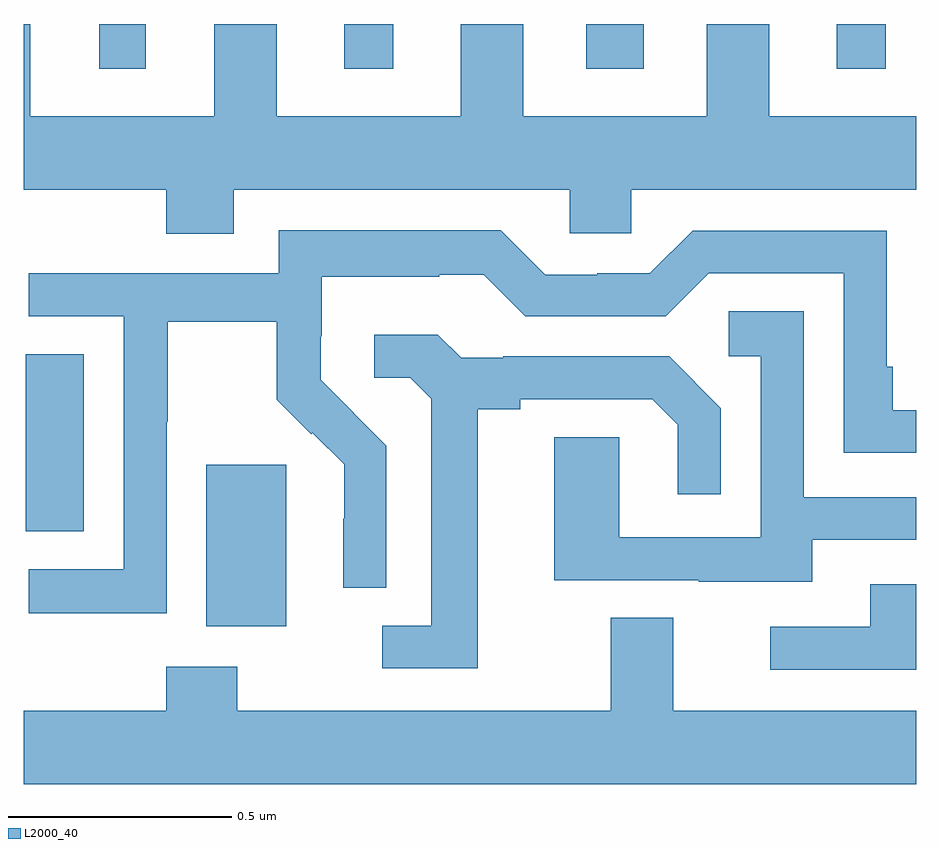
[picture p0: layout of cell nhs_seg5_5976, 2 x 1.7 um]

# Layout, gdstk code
import gdstk
lib = gdstk.Library(unit=1e-6, precision=1e-09)
def R(c, l, rs):  # rectangles x0, y0, x1, y1
    for r in rs: c.add(gdstk.rectangle(r[:2], r[2:], *l))
def P(c, l, *ps):  # polygons
    for p in ps: c.add(gdstk.Polygon(p, *l))
L2000_40 = (2000, 40)

nhs_seg5_5976 = lib.new_cell('nhs_seg5_5976')
R(nhs_seg5_5976, L2000_40, [(190.409,854.45,190.588,854.811), (190.004,854.662,190.135,855.059), (190.169,855.699,190.273,855.799), (190.718,855.699,190.828,855.799), (191.261,855.699,191.389,855.799), (191.822,855.699,191.932,855.799)])
P(nhs_seg5_5976, L2000_40, [(190,855.799),(190,855.428),(190.319,855.428),(190.319,855.329),(190.471,855.329),(190.471,855.428),(191.223,855.428),(191.223,855.33),(191.361,855.33),(191.361,855.428),(192,855.428),(192,855.592),(191.671,855.592),(191.671,855.799),(191.531,855.799),(191.531,855.592),(191.119,855.592),(191.119,855.799),(190.979,855.799),(190.979,855.592),(190.567,855.592),(190.567,855.799),(190.427,855.799),(190.427,855.592),(190.015,855.592),(190.015,855.799)],
  [(190.32,854.908),(190.323,854.908),(190.323,855.132),(190.567,855.132),(190.567,854.957),(190.644,854.88),(190.647,854.883),(190.718,854.813),(190.718,854.69),(190.716,854.69),(190.716,854.536),(190.812,854.536),(190.812,854.854),(190.739,854.927),(190.74,854.928),(190.666,855.002),(190.666,855.099),(190.668,855.099),(190.668,855.233),(190.931,855.233),(190.931,855.237),(191.031,855.237),(191.124,855.144),(191.439,855.144),(191.535,855.24),(191.838,855.24),(191.838,854.838),(192,854.838),(192,854.934),(191.947,854.934),(191.947,855.031),(191.934,855.031),(191.934,855.336),(191.499,855.336),(191.403,855.24),(191.285,855.24),(191.285,855.237),(191.169,855.237),(191.069,855.337),(190.572,855.337),(190.572,855.24),(190.011,855.24),(190.011,855.144),(190.224,855.144),(190.224,854.577),(190.011,854.577),(190.011,854.479),(190.32,854.479)],
  [(191.767,854.643),(192,854.643),(192,854.739),(191.748,854.739),(191.748,855.155),(191.58,855.155),(191.58,855.054),(191.652,855.054),(191.652,854.649),(191.334,854.649),(191.334,854.873),(191.189,854.873),(191.189,854.553),(191.513,854.553),(191.513,854.549),(191.767,854.549)],
  [(191.017,854.936),(191.113,854.936),(191.113,854.958),(191.408,854.958),(191.465,854.901),(191.465,854.745),(191.562,854.745),(191.562,854.938),(191.446,855.054),(191.074,855.054),(191.074,855.051),(190.98,855.051),(190.928,855.103),(190.785,855.103),(190.785,855.006),(190.866,855.006),(190.913,854.959),(190.913,854.451),(190.803,854.451),(190.803,854.355),(191.017,854.355)],
  [(192,854.544),(191.897,854.544),(191.897,854.448),(191.673,854.448),(191.673,854.352),(192,854.352)],
  [(192,854.26),(191.455,854.26),(191.455,854.468),(191.315,854.468),(191.315,854.26),(190.479,854.26),(190.479,854.359),(190.319,854.359),(190.319,854.26),(190,854.26),(190,854.096),(192,854.096)])

lib.write_gds('nhs_seg5_5976.gds')
